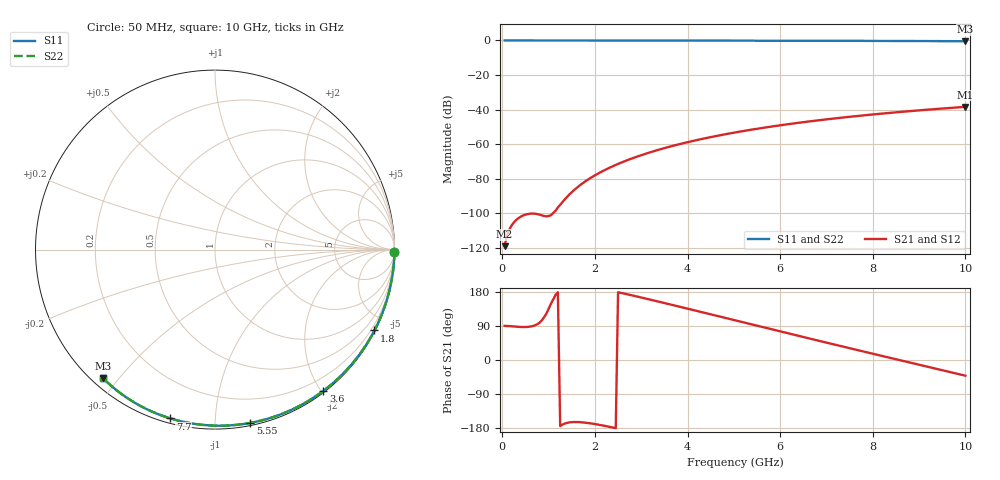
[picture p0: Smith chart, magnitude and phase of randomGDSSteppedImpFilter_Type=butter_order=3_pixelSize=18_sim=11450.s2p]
! freq	dB(S11)	phase(S11)	dB(S12)	phase(S12)
!  dB(S21)	phase(S21)	dB(S22)	phase(S22)
!S-par simulation data
#  GHz  S  DB  R 50
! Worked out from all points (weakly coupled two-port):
!   200 points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, 50 MHz to 10 GHz, reference 50 ohm
!   highest |S21| = -38.46 dB at 10 GHz (marker M1); lowest = -119.1 dB at 50 MHz (marker M2)
!   lowest |S11| = -0.4 dB at 10 GHz (marker M3), VSWR 39.15, Z = 1.54 - j22.7 ohm
!   |S11| at or under -10 dB: nowhere
!   |S22| runs from -0.4 to 0.0 dB; largest |S21 - S12| = 0
!   S11 on the Smith chart (normalised r, x): 50 MHz: open; 1.8 GHz: 0.04, -4.19; 3.6 GHz: 0.02, -2.03; 5.55 GHz: 0.02, -1.22; 7.7 GHz: 0.02, -0.77; 10 GHz: 0.03, -0.45
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0.05  -0.00 -0.8  -119.13 90.0  -119.13 90.0  -0.00 -0.8
0.9  -0.02 -13.6  -101.64 112.4  -101.64 112.4  -0.02 -13.6
1.75  -0.03 -26.1  -82.40 -164.8  -82.40 -164.8  -0.03 -26.1
1.8  -0.03 -26.9  -81.46 -165.5  -81.46 -165.5  -0.03 -26.9
1.85  -0.04 -27.6  -80.58 -166.3  -80.58 -166.3  -0.04 -27.6
1.9  -0.04 -28.3  -79.72 -167.1  -79.72 -167.1  -0.04 -28.3
2.05  -0.04 -30.5  -77.34 -170.1  -77.34 -170.1  -0.04 -30.5
2.25  -0.04 -33.4  -74.54 -174.7  -74.54 -174.7  -0.04 -33.4
2.45  -0.05 -36.3  -72.06 -179.8  -72.06 -179.8  -0.05 -36.3
2.65  -0.05 -39.2  -69.84 174.8  -69.84 174.8  -0.05 -39.2
3  -0.06 -44.2  -66.44 165.0  -66.44 165.0  -0.06 -44.2
3.4  -0.07 -49.8  -63.10 153.3  -63.10 153.3  -0.07 -49.8
3.6  -0.07 -52.5  -61.61 147.4  -61.61 147.4  -0.07 -52.5
4.3  -0.09 -62.1  -57.10 126.5  -57.10 126.5  -0.09 -62.1
5.05  -0.11 -72.0  -53.17 104.0  -53.17 104.0  -0.11 -72.0
5.55  -0.13 -78.5  -50.94 89.0  -50.94 89.0  -0.13 -78.5
6.1  -0.15 -85.4  -48.76 72.5  -48.76 72.5  -0.15 -85.4
6.7  -0.18 -92.8  -46.65 54.7  -46.65 54.7  -0.18 -92.8
7.7  -0.24 -104.8  -43.66 25.3  -43.66 25.3  -0.24 -104.8
8.35  -0.29 -112.4  -41.98 6.3  -41.98 6.3  -0.29 -112.4
9.15  -0.36 -121.5  -40.15 -16.8  -40.15 -16.8  -0.36 -121.5
10  -0.44 -131.1  -38.46 -41.4  -38.46 -41.4  -0.44 -131.1
